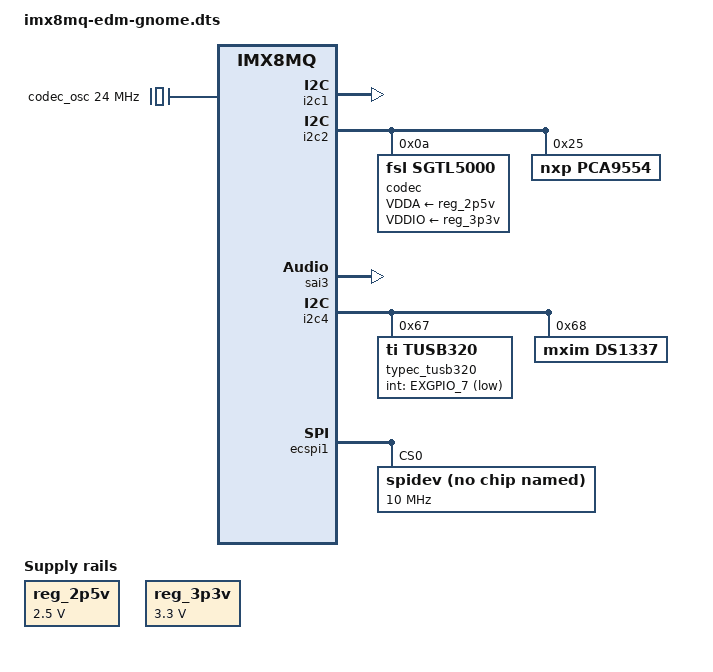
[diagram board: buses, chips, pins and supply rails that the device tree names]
/*
 * Copyright 2018 TechNexion Ltd.
 *
 * Author: Tapani Utriainen <tapani@technexion.com>
 *	   Richard Hu <richard.hu@technexion.com>
 *	   Ray Chang <ray.chang@technexion.com>
 *
 * This program is free software; you can redistribute it and/or modify
 * it under the terms of the GNU General Public License version 2 as
 * published by the Free Software Foundation.
 *
 */

#define EXGPIO_0 pca9554 0
#define EXGPIO_1 pca9554 1
#define EXGPIO_2 pca9554 2
#define EXGPIO_3 pca9554 3
#define EXGPIO_4 pca9554 4
#define EXGPIO_5 pca9554 5
#define EXGPIO_6 pca9554 6
#define EXGPIO_7 pca9554 7

#include "imx8mq-edm.dtsi"

/ {

	regulators {
		compatible = "simple-bus";
		#address-cells = <1>;
		#size-cells = <0>;

		reg_2p5v: 2p5v {
			compatible = "regulator-fixed";
			regulator-name = "2P5V";
			regulator-min-microvolt = <2500000>;
			regulator-max-microvolt = <2500000>;
			regulator-always-on;
		};

		reg_3p3v: 3p3v {
			compatible = "regulator-fixed";
			regulator-name = "3P3V";
			regulator-min-microvolt = <3300000>;
			regulator-max-microvolt = <3300000>;
			regulator-always-on;
		};
	};

	clocks {
		codec_osc: aud_mclk {
			compatible = "fixed-clock";
			#clock-cells = <0>;
			clock-frequency = <24000000>;
			clock-output-names = "sgtl5000-mclk";
		};
	};

	sound {
		compatible = "fsl,pico-imx7-sgtl5000",
				"fsl,imx-audio-sgtl5000";
		model = "audio-sgtl5000";
		ssi-controller = <&sai3>;
		audio-codec = <&codec>;
		audio-routing =
			"MIC_IN", "Mic Jack",
			"Mic Jack", "Mic Bias",
			"Headphone Jack", "HP_OUT";
#if defined(EDM_AUDA_MUX_INT) && defined(EDM_AUDA_MUX_EXT)
		mux-int-port = <EDM_AUDA_MUX_INT>;
		mux-ext-port = <EDM_AUDA_MUX_EXT>;
#else
		fsl,no-audmux = "true";
#endif
	};

#if 0
	gpio-leds {
		compatible = "gpio-leds";
		gnome-led {
			label = "gnome-led";
			gpios = <&EDM_EXT_GPIO_P258 GPIO_ACTIVE_HIGH>;
			default-state = "off";
		};
	};
#endif

	sound-spdif {
		status = "disabled";
	};

	backlight_lvds {
		status = "disabled";
	};
};


&iomuxc {
	imx8mq-edm {
		pinctrl_sai3: sai3grp {
			fsl,pins = <
				MX8MQ_IOMUXC_SAI3_TXFS_SAI3_TX_SYNC	0xd6
				MX8MQ_IOMUXC_SAI3_TXC_SAI3_TX_BCLK	0xd6
				MX8MQ_IOMUXC_SAI3_MCLK_SAI3_MCLK	0xd6
				MX8MQ_IOMUXC_SAI3_TXD_SAI3_TX_DATA0	0xd6
				MX8MQ_IOMUXC_SAI3_RXD_SAI3_RX_DATA0	0xd6
			>;
		};
	};
};

&i2c1 {
	status = "okay";
};

&i2c2 {
	status = "okay";

	codec: sgtl5000@0a {
		compatible = "fsl,sgtl5000";
		reg = <0x0a>;
		clocks = <&codec_osc>;
		VDDA-supply = <&reg_2p5v>;
		VDDIO-supply = <&reg_3p3v>;
	};

	pca9554: pca9554@25 {
		compatible = "nxp,pca9554";
		reg = <0x25>;
		gpio-controller;
		#gpio-cells = <2>;
		#interrupt-cells = <2>;
	};
};

&sai3 {
	pinctrl-names = "default";
	pinctrl-0 = <&pinctrl_sai3>;
	assigned-clocks = <&clk IMX8MQ_CLK_SAI3>;
	assigned-clock-parents = <&clk IMX8MQ_AUDIO_PLL1_OUT>;
	assigned-clock-rates = <24576000>;
	status = "okay";
};

&i2c4 {
	status = "okay";

	typec_tusb320:tusb320@67 {
		compatible = "ti,tusb320";
		reg = <0x67>;
		tusb320,int-gpio = <&EXGPIO_7 GPIO_ACTIVE_LOW>;
		tusb320,select-mode = <0>;
		tusb320,dfp-power = <0>;
	};

	ds1337: rtc@68 {
		compatible = "mxim,ds1337";
		reg = <0x68>;
	};
};

&ecspi1 {
	status = "okay";

	spidev@0 {
		compatible = "rohm,dh2228fv";
		spi-max-frequency = <10000000>;
		reg = <0>;
	};
};

